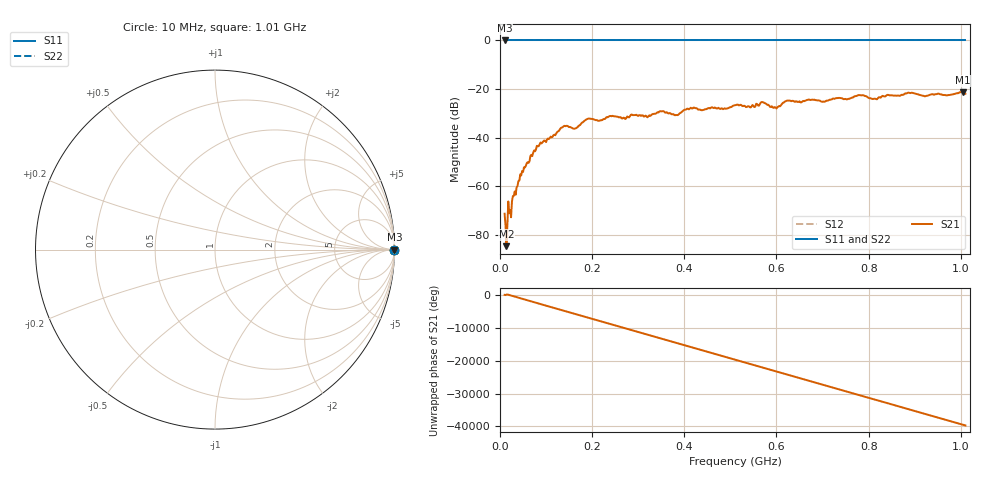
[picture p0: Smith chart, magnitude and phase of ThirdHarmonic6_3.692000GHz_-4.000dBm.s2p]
! 8/17/2025 12:31:34 PM
! C:\ANRITSUVNA\TEMP\TEMP.S2P
! CHANNEL.1
! TR.MEASUREMENT
! RAW.DATA
! RF.CORRECTION.OFF
! AVERAGING.OFF
! IF.BANDWIDTH: 5KHZ
! SWEEPTYPE:  FREQ.SWEEP(Linear)
! Reference Plane Port Info
! PORT:  PORT1  PORT2
! DISTANCE:  0  m  0  m
! TIME:  0  s  0  s
! PHASE.OFFSET:  0  deg.  0  deg.
! LOSS:  0  dB  0  dB
! REF.LOSS:  0  dB  0  dB
! REF.FREQ:  0  Hz  0  Hz
! Power Info
! POWER:  -20  dBm  -20  dBm
! EFF.POWER:  -20  dBm  -20  dBm
! SOURCE.ATTEN:  0  dB  0  dB
! TEST.ATTEN:  0  dB  0  dB
# GHZ S RI R 50.0
! FREQ.GHZ  S11RE  S11IM  S21RE  S21IM  S12RE  S12IM  S22RE  S22IM
!; PortSelection: Port_12
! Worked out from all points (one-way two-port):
!   501 points, 10 MHz to 1.01 GHz, reference 50 ohm
!   highest |S21| = -21.24 dB at 1.004 GHz (marker M1); lowest = -84.6 dB at 14 MHz (marker M2)
!   lowest |S11| = 0.0 dB at 10 MHz (marker M3)
!   |S11| at or under -10 dB: nowhere
!   |S22| runs from 0.0 to 0.0 dB; largest |S21 - S12| = 1.1
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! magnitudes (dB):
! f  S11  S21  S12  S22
! 10 MHz  0.0  -71.2  0.0  0.0
! 14 MHz  0.0  -84.6  0.0  0.0
! 48 MHz  0.0  -53.7  0.0  0.0
! 84 MHz  0.0  -43.5  0.0  0.0
! 136 MHz  0.0  -35.7  0.0  0.0
! 162 MHz  0.0  -36.3  0.0  0.0
! 178 MHz  0.0  -33.8  0.0  0.0
! 192 MHz  0.0  -32.1  0.0  0.0
! 322 MHz  0.0  -31.1  0.0  0.0
! 344 MHz  0.0  -29.6  0.0  0.0
! 382 MHz  0.0  -30.6  0.0  0.0
! 416 MHz  0.0  -27.9  0.0  0.0
! 510 MHz  0.0  -26.6  0.0  0.0
! 570 MHz  0.0  -25.4  0.0  0.0
! 598 MHz  0.0  -27.6  0.0  0.0
! 624 MHz  0.0  -24.7  0.0  0.0
! 678 MHz  0.0  -24.3  0.0  0.0
! 782 MHz  0.0  -22.5  0.0  0.0
! 814 MHz  0.0  -23.9  0.0  0.0
! 844 MHz  0.0  -22.5  0.0  0.0
! 1.004 GHz  0.0  -21.2  0.0  0.0
! 1.01 GHz  0.0  -21.9  0.0  0.0
